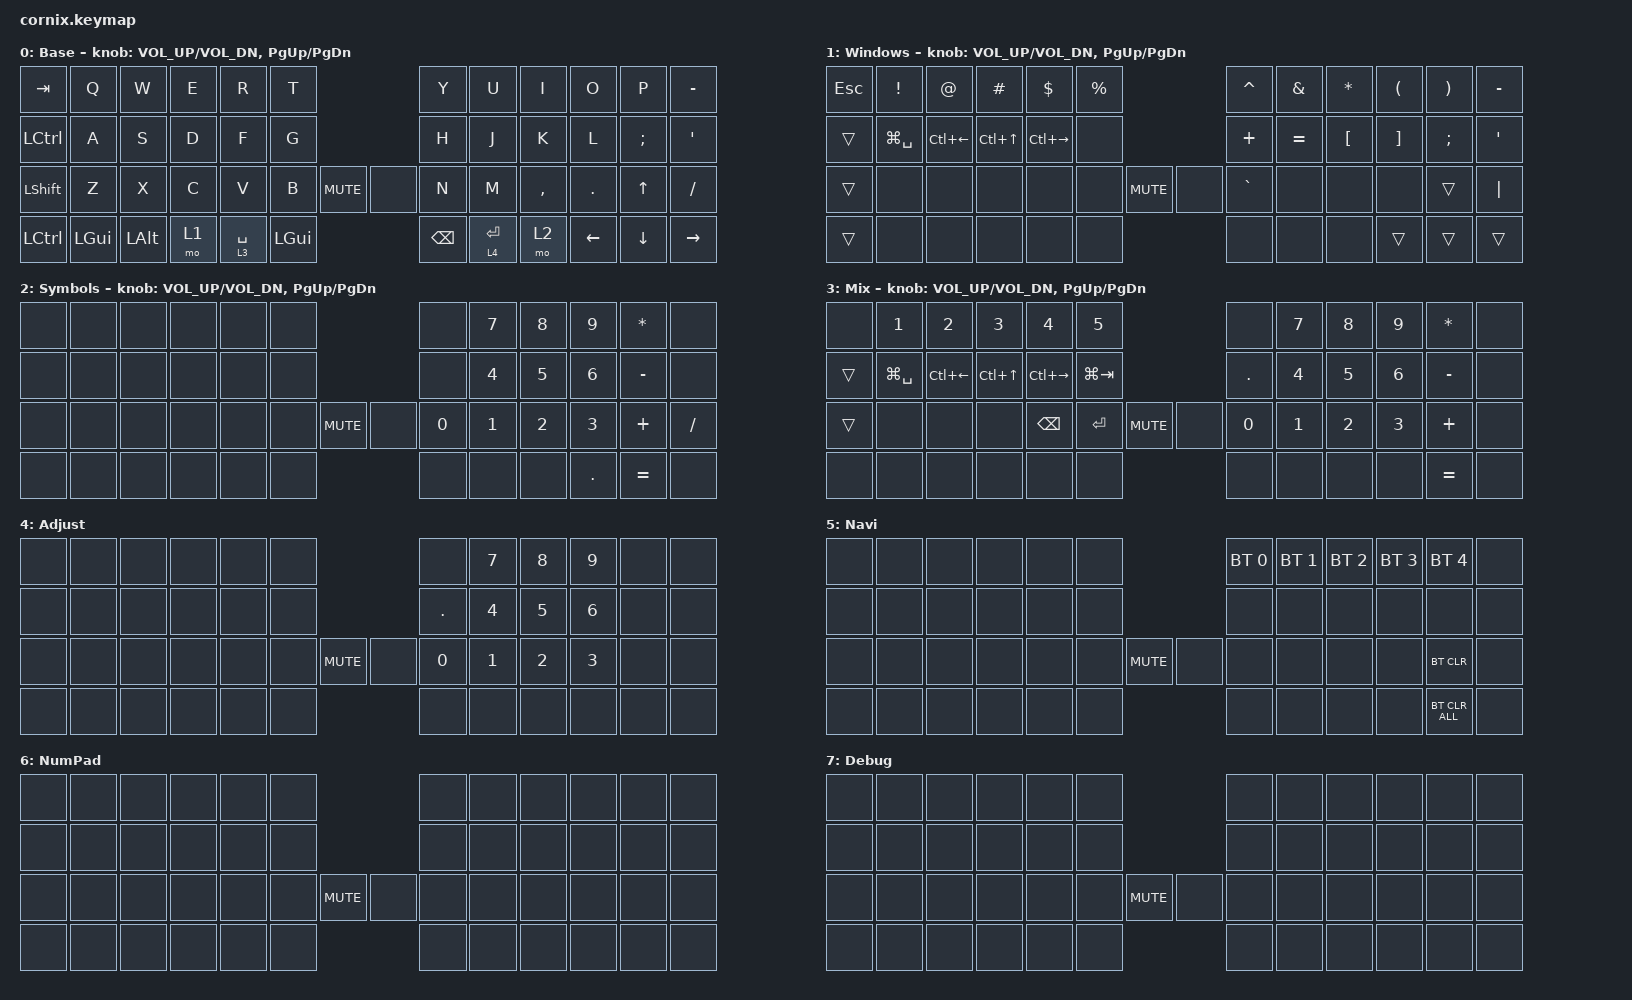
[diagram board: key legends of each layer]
/*
 * Copyright (c) 2020 The ZMK Contributors
 *
 * SPDX-License-Identifier: MIT
 */

#include "zmk-helpers/helper.h"
#include "includes/cornix54.h"

// tap windows for ctl alt and gui

#define HM_TAPPING_TERM 250
#define HM_TAPPING_REPEAT 210

// quick tapping for shift

#define HM_TAPPING_TERM_FAST 200
#define HM_PRIOR_IDLE 70
#define BASE 0
#define WIN 1
#define LOWER 2
#define RAISE 3
#define ADJUST 4
#define NAVI   5
#define NUM    6
#define DEBUG  7

// https://github.com/urob/zmk-config/tree/main#timeless-homerow-mods

#define KEYS_L LT0 LT1 LT2 LT3 LT4 LT5 LM0 LM1 LM2 LM3 LM4 LM5 LB0 LB1 LB2 LB3 LB4 LB5  // left hand
#define KEYS_R RT0 RT1 RT2 RT3 RT4 RT5 RM0 RM1 RM2 RM3 RM4 RM5 RB0 RB1 RB2 RB3 RB4 RB5  // right hand
#define THUMBS LH1 LH0 RH0 RH1
#define KEYS_T LH1 LH0 RH0 RH1
#define ZMK_POINTING_DEFAULT_SCRL_VAL 15

#include <behaviors.dtsi>
#include <dt-bindings/zmk/bt.h>
#include <dt-bindings/zmk/keys.h>

/ {
    // Activate ADJUST layer by pressing raise and lower

    behaviors {
        hm_l: homerow_mods_left {
            compatible = "zmk,behavior-hold-tap";
            #binding-cells = <2>;
            bindings = <&kp>, <&kp>;

            flavor = "balanced";
            tapping-term-ms = <HM_TAPPING_TERM>;
            quick-tap-ms = <200>;                // repeat on tap-into-hold
            require-prior-idle-ms = <HM_PRIOR_IDLE>;
            hold-trigger-key-positions = <KEYS_R KEYS_T>;
            hold-trigger-on-release;
        };

        hm_r: homerow_mods_right {
            compatible = "zmk,behavior-hold-tap";
            #binding-cells = <2>;
            bindings = <&kp>, <&kp>;

            flavor = "balanced";
            tapping-term-ms = <HM_TAPPING_TERM>;
            quick-tap-ms = <200>;
            require-prior-idle-ms = <HM_PRIOR_IDLE>;
            hold-trigger-key-positions = <KEYS_L KEYS_T>;
            hold-trigger-on-release;
        };

        // Positional Homerow mods for shift
        // Use faster tapping term and disable some features that may
        // cause false negatives.

        hm_shift_l: hm_shift_l {
            compatible = "zmk,behavior-hold-tap";
            #binding-cells = <2>;
            bindings = <&kp>, <&kp>;

            //flavor = "balanced";

            flavor = "balanced";
            tapping-term-ms = <HM_TAPPING_TERM_FAST>;
            quick-tap-ms = <200>;
            require-prior-idle-ms = <HM_PRIOR_IDLE>;
            hold-trigger-key-positions = <KEYS_R KEYS_T>;
            hold-trigger-on-release;
        };

        hm_shift_r: hm_shift_r {
            compatible = "zmk,behavior-hold-tap";
            #binding-cells = <2>;
            bindings = <&kp>, <&kp>;

            flavor = "balanced";
            tapping-term-ms = <HM_TAPPING_TERM_FAST>;
            quick-tap-ms = <200>;
            require-prior-idle-ms = <HM_PRIOR_IDLE>;
            hold-trigger-key-positions = <KEYS_L KEYS_T>;

            // for quick tapping; shift+~

            hold-trigger-on-release;
        };

        /*
         * Non-Positional Homerow Mods
         * Used for &mm_grescm_gui behavior on left hand.
         *
         * Usage: &hm LSHFT T
         * Tap: T
         * Tap-Tap-Hold: Repeat T
         * Hold: LSHIFT
         */

        hm: homerow_mods {
            compatible = "zmk,behavior-hold-tap";
            #binding-cells = <2>;
            bindings = <&kp>, <&kp>;

            flavor = "balanced";
            tapping-term-ms = <HM_TAPPING_TERM>;
            quick-tap-ms = <200>;
        };

        lt: layer_tap {
            compatible = "zmk,behavior-hold-tap";
            #binding-cells = <2>;
            bindings = <&mo>, <&kp>;

            flavor = "hold-preferred";
            tapping-term-ms = <HM_TAPPING_TERM>;
            quick-tap-ms = <200>;
        };
    };

    conditional_layers {
        compatible = "zmk,conditional-layers";

        adjust_layer {
            if-layers = <3 2>;
            then-layer = <4>;
        };
    };

    combos {
        compatible = "zmk,combos";

        cb_ltm {
            bindings = <&kp ESC>;
            key-positions = <2 4>;
            layers = <0 1>;
        };

        cb_lm {
            bindings = <&kp TAB>;
            key-positions = <14 16>;
            layers = <0 1>;
        };

        cb_enter {
            bindings = <&kp RET>;
            key-positions = <21 19>;
            layers = <0 1>;
        };

        cb_lang2 {
            bindings = <&kp LANG2>;
            key-positions = <7 8>;
            layers = <0>;
        };

        cb_lang1 {
            bindings = <&kp LANG1>;
            key-positions = <8 9>;
            layers = <0>;
        };

        layer5 {
            bindings = <&mo 5>;
            key-positions = <43 44>;
        };
    };

    keymap {
        compatible = "zmk,keymap";

        default_layer {
            display-name = "Base";

            // ------------------------------------------------------------------------------------------------------------
            // |   `   |  1  |  2  |  3   |  4   |  5   |                   |  6   |  7    |  8    |  9   |   0   |       |
            // |  ESC  |  Q  |  W  |  E   |  R   |  T   |                   |  Y   |  U    |  I    |  O   |   P   | BKSPC |
            // |  TAB  |  A  |  S  |  D   |  F   |  G   |                   |  H   |  J    |  K    |  L   |   ;   |   '   |
            // | SHIFT |  Z  |  X  |  C   |  V   |  B   |  MUTE  |  |       |  N   |  M    |  ,    |  .   |   /   | SHIFT |
            //               | GUI | ALT  | CTRL | LOWER|  ENTER |  | SPACE | RAISE| CTRL  | ALT   | GUI  |

            bindings = <
&kp TAB     &kp Q     &kp W     &kp E  &kp R        &kp T                        &kp Y          &kp U        &kp I      &kp O     &kp P     &kp MINUS
&kp LCTRL   &kp A     &kp S     &kp D  &kp F        &kp G                        &kp H          &kp J        &kp K      &kp L     &kp SEMI  &kp SINGLE_QUOTE
&kp LSHIFT  &kp Z     &kp X     &kp C  &kp V        &kp B     &kp C_MUTE  &none  &kp N          &kp M        &kp COMMA  &kp DOT   &kp UP    &kp SLASH
&kp LCTRL   &kp LGUI  &kp LALT  &mo 1  &lt 3 SPACE  &kp LGUI                     &kp BACKSPACE  &lt 4 ENTER  &mo 2      &kp LEFT  &kp DOWN  &kp RIGHT
            >;

            sensor-bindings = <&inc_dec_kp C_VOL_UP C_VOL_DN &inc_dec_kp PG_UP PG_DN>;
        };

        win_layer {
            display-name = "Windows";

            // ------------------------------------------------------------------------------------------------------------
            // |   `   |  1  |  2  |  3   |  4   |  5   |                   |  6   |  7    |  8    |  9   |   0   |       |
            // |  ESC  |  Q  |  W  |  E   |  R   |  T   |                   |  Y   |  U    |  I    |  O   |   P   | BKSPC |
            // |  TAB  |  A  |  S  |  D   |  F   |  G   |                   |  H   |  J    |  K    |  L   |   ;   |   '   |
            // | SHIFT |  Z  |  X  |  C   |  V   |  B   |  MUTE  |  |       |  N   |  M    |  ,    |  .   |   /   | SHIFT |
            //               | GUI | ALT  | CTRL | LOWER|  ENTER |  | SPACE | RAISE| CTRL  | ALT   | GUI  |

            bindings = <
&kp ESCAPE  &kp EXCLAMATION  &kp AT_SIGN         &kp HASH          &kp DOLLAR     &kp PERCENT                     &kp CARET  &kp AMPERSAND  &kp ASTERISK      &kp LEFT_PARENTHESIS  &kp RIGHT_PARENTHESIS  &kp MINUS
&trans      &kp LG(SPACE)    &kp LC(LEFT_ARROW)  &kp LC(UP_ARROW)  &kp LC(RIGHT)  &none                           &kp PLUS   &kp EQUAL      &kp LEFT_BRACKET  &kp RIGHT_BRACKET     &kp SEMICOLON          &kp SINGLE_QUOTE
&trans      &none            &none               &none             &none          &none        &kp C_MUTE  &none  &kp GRAVE  &none          &none             &none                 &trans                 &kp PIPE
&trans      &none            &none               &none             &none          &none                           &none      &none          &none             &trans                &trans                 &trans
            >;

            sensor-bindings = <&inc_dec_kp C_VOL_UP C_VOL_DN &inc_dec_kp PG_UP PG_DN>;
        };

        Symbol_layer {
            display-name = "Symbols";

            // TODO: Some binds are waiting for shifted keycode support.
            // -------------------------------
            // |       |  F1 |  F2 |  F3  |  F4  |  F5  |                   |  F6  |  F7   |  F8   |  F9  |  F10  |  F11  |
            // |   `   |  1  |  2  |  3   |  4   |  5   |                   |  6   |  7    |  8    |  9   |   0   |  F12  |
            // |       |  !  |  @  |  #   |  $   |  %   |                   |  ^   |  &    |  *    |  (   |   )   |   |   |
            // |       |  =  |  -  |  +   |  {   |  }   |        |  |       |  [   |  ]    |  ;    |  :   |   \   |       |
            //               |     |      |      |      |        |  |       |      |       |       |      |

            bindings = <
&none  &none  &none  &none  &none  &none                     &none   &kp N7        &kp N8        &kp N9        &kp ASTRK  &none
&none  &none  &none  &none  &none  &none                     &none   &kp NUMBER_4  &kp N5        &kp NUMBER_6  &kp MINUS  &none
&none  &none  &none  &none  &none  &none  &kp C_MUTE  &none  &kp N0  &kp NUMBER_1  &kp NUMBER_2  &kp NUMBER_3  &kp PLUS   &kp SLASH
&none  &none  &none  &none  &none  &none                     &none   &none         &none         &kp PERIOD    &kp EQUAL  &none
            >;

            sensor-bindings = <&inc_dec_kp C_VOL_UP C_VOL_DN &inc_dec_kp PG_UP PG_DN>;
        };

        Mix_layer {
            display-name = "Mix";

            // ------------------------------------------------------------------------------------------------------------
            // | BTCLR | BT1  | BT2  |  BT3  |  BT4  |  BT5 |                |      |      |       |      |       |       |
            // |       | INS  | PSCR | GUI   |       |      |                | PGUP |      |   ^   |      |       |       |
            // |       | ALT  | CTRL | SHIFT |       | CAPS |                | PGDN |   <- |   v   |  ->  |  DEL  | BKSPC |
            // |       | UNDO | CUT  | COPY  | PASTE |      |      |  |      |      |      |       |      |       |       |
            //                |      |       |       |      |      |  |      |      |      |       |      |

            bindings = <
&none   &kp NUMBER_1   &kp NUMBER_2  &kp NUMBER_3      &kp NUMBER_4         &kp NUMBER_5                     &none       &kp NUMBER_7  &kp NUMBER_8  &kp N9        &kp ASTERISK  &none
&trans  &kp LG(SPACE)  &kp LC(LEFT)  &kp LC(UP_ARROW)  &kp LC(RIGHT_ARROW)  &kp LG(TAB)                      &kp PERIOD  &kp NUMBER_4  &kp NUMBER_5  &kp NUMBER_6  &kp MINUS     &none
&trans  &none          &none         &none             &kp BACKSPACE        &kp RET       &kp C_MUTE  &none  &kp N0      &kp NUMBER_1  &kp NUMBER_2  &kp NUMBER_3  &kp PLUS      &none
&none   &none          &none         &none             &none                &none                            &none       &none         &none         &none         &kp EQUAL     &none
            >;

            sensor-bindings = <&inc_dec_kp C_VOL_UP C_VOL_DN &inc_dec_kp PG_UP PG_DN>;
        };

        Adjust_layer {
            display-name = "Adjust";

            // ----------------------------------------------------------------------------------------------------------------------------
            // | BTCLR  |  BT1    |  BT2    |   BT3   |   BT4   |   BT5   |                  |      |      |       |      |       |       |
            // | moDEBUG| RGB_HUD | RGB_HUI | RGB_SAD | RGB_SAI | RGB_EFF |                  |      |      |       |      |       |       |
            // | EXTPWR | RGB_BRD | RGB_BRI |         |         |         |                  |      |      |       |      |       |       |
            // |        |         |         |         |         |         | RGB_TOG | |      |      |      |       |      |       |       |
            //                    |         |         |         |         |         | |      |      |      |       |      |

            bindings = <
&none  &none  &none  &none  &none  &none                     &none    &kp NUMBER_7  &kp NUMBER_8  &kp NUMBER_9  &none  &none
&none  &none  &none  &none  &none  &none                     &kp DOT  &kp NUMBER_4  &kp NUMBER_5  &kp NUMBER_6  &none  &none
&none  &none  &none  &none  &none  &none  &kp C_MUTE  &none  &kp N0   &kp NUMBER_1  &kp NUMBER_2  &kp NUMBER_3  &none  &none
&none  &none  &none  &none  &none  &none                     &none    &none         &none         &none         &none  &none
            >;
        };

        Navi_layer {
            display-name = "Navi";
            bindings = <
&none  &none  &none  &none  &none  &none                     &bt BT_SEL 0  &bt BT_SEL 1  &bt BT_SEL 2  &bt BT_SEL 3  &bt BT_SEL 4    &none
&none  &none  &none  &none  &none  &none                     &none         &none         &none         &none         &none           &none
&none  &none  &none  &none  &none  &none  &kp C_MUTE  &none  &none         &none         &none         &none         &bt BT_CLR      &none
&none  &none  &none  &none  &none  &none                     &none         &none         &none         &none         &bt BT_CLR_ALL  &none
            >;
        };

        KeyPad_layer {
            display-name = "NumPad";
            bindings = <
&none  &none  &none  &none  &none  &none                     &none  &none  &none  &none  &none  &none
&none  &none  &none  &none  &none  &none                     &none  &none  &none  &none  &none  &none
&none  &none  &none  &none  &none  &none  &kp C_MUTE  &none  &none  &none  &none  &none  &none  &none
&none  &none  &none  &none  &none  &none                     &none  &none  &none  &none  &none  &none
            >;
        };

        Debug_layer {
            display-name = "Debug";

            // ----------------------------------------------------------------------------------------------------------------------------
            // | BTCLR  |  BT1    |  BT2    |   BT3   |   BT4   |   BT5   |                  |      |      |       |      |       |       |
            // | EXTPWR | BTCLR | RGB_HUI | RGB_SAD | RGB_SAI | RGB_EFF |                  |      |      |       |      |       |       |
            // |        | RGB_BRD | RGB_BRI |         |         |         |                  |      |      |       |      |       |       |
            // |        |         |         |         |         |         | RGB_TOG | |      |      |      |       |      |       |       |
            //                    |         |         |         |         |         | |      |      |      |       |      |

            bindings = <
&none  &none  &none  &none  &none  &none                     &none  &none  &none  &none  &none  &none
&none  &none  &none  &none  &none  &none                     &none  &none  &none  &none  &none  &none
&none  &none  &none  &none  &none  &none  &kp C_MUTE  &none  &none  &none  &none  &none  &none  &none
&none  &none  &none  &none  &none  &none                     &none  &none  &none  &none  &none  &none
            >;
        };
    };
};
